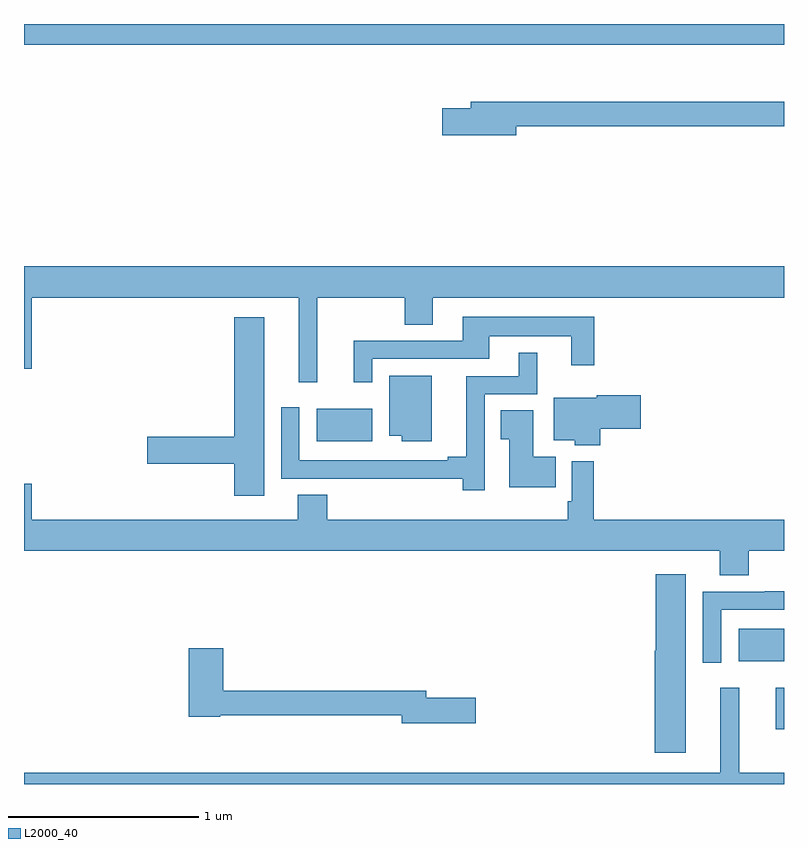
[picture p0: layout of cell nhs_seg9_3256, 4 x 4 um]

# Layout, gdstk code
import gdstk
lib = gdstk.Library(unit=1e-6, precision=1e-09)
def R(c, l, rs):  # rectangles x0, y0, x1, y1
    for r in rs: c.add(gdstk.rectangle(r[:2], r[2:], *l))
def P(c, l, *ps):  # polygons
    for p in ps: c.add(gdstk.Polygon(p, *l))
L2000_40 = (2000, 40)

nhs_seg9_3256 = lib.new_cell('nhs_seg9_3256')
R(nhs_seg9_3256, L2000_40, [(300.956,1220.787,301,1221.007), (300.761,1221.146,301,1221.316), (298.541,1222.304,298.834,1222.474), (297,1224.392,301,1224.5)])
P(nhs_seg9_3256, L2000_40, [(299.59,1223.962),(301,1223.962),(301,1224.091),(299.351,1224.091),(299.351,1224.057),(299.202,1224.057),(299.202,1223.915),(299.59,1223.915)],
  [(298.544,1223.06),(299.005,1223.06),(299.005,1222.918),(299.152,1222.918),(299.152,1223.06),(301,1223.06),(301,1223.224),(297,1223.224),(297,1222.686),(297.04,1222.686),(297.04,1223.06),(298.445,1223.06),(298.445,1222.614),(298.544,1222.614)],
  [(298.833,1222.737),(299.449,1222.737),(299.449,1222.856),(299.879,1222.856),(299.879,1222.704),(300.001,1222.704),(300.001,1222.96),(299.309,1222.96),(299.309,1222.833),(298.736,1222.833),(298.736,1222.614),(298.833,1222.614)],
  [(298.264,1222.957),(298.106,1222.957),(298.106,1222.328),(297.648,1222.328),(297.648,1222.186),(298.106,1222.186),(298.106,1222.017),(298.264,1222.017)],
  [(299.424,1222.551),(299.701,1222.551),(299.701,1222.771),(299.603,1222.771),(299.603,1222.647),(299.327,1222.647),(299.327,1222.223),(299.231,1222.223),(299.231,1222.203),(298.449,1222.203),(298.449,1222.483),(298.353,1222.483),(298.353,1222.107),(298.678,1222.107),(298.678,1222.106),(299.308,1222.106),(299.308,1222.047),(299.424,1222.047)],
  [(299.146,1222.648),(298.922,1222.648),(298.922,1222.334),(298.988,1222.334),(298.988,1222.304),(299.146,1222.304)],
  [(300.032,1222.369),(300.247,1222.369),(300.247,1222.547),(300.015,1222.547),(300.015,1222.534),(299.789,1222.534),(299.789,1222.31),(299.898,1222.31),(299.898,1222.283),(300.032,1222.283)],
  [(299.798,1222.222),(299.68,1222.222),(299.68,1222.466),(299.509,1222.466),(299.509,1222.315),(299.555,1222.315),(299.555,1222.061),(299.798,1222.061)],
  [(300.815,1221.728),(301,1221.728),(301,1221.892),(299.999,1221.892),(299.999,1222.198),(299.883,1222.198),(299.883,1221.988),(299.863,1221.988),(299.863,1221.892),(298.595,1221.892),(298.595,1222.022),(298.442,1222.022),(298.442,1221.892),(297.04,1221.892),(297.04,1222.081),(297,1222.081),(297,1221.728),(300.662,1221.728),(300.662,1221.598),(300.815,1221.598)],
  [(300.484,1221.604),(300.326,1221.604),(300.326,1221.201),(300.32,1221.201),(300.32,1220.664),(300.484,1220.664)],
  [(300.669,1221.417),(301,1221.417),(301,1221.515),(300.898,1221.515),(300.898,1221.513),(300.573,1221.513),(300.573,1221.138),(300.669,1221.138)],
  [(299.377,1220.954),(299.116,1220.954),(299.116,1220.99),(298.049,1220.99),(298.049,1221.214),(297.866,1221.214),(297.866,1220.854),(298.032,1220.854),(298.032,1220.862),(298.988,1220.862),(298.988,1220.819),(299.377,1220.819)],
  [(301,1220.56),(300.764,1220.56),(300.764,1221.007),(300.665,1221.007),(300.665,1220.56),(297,1220.56),(297,1220.5),(301,1220.5)])

lib.write_gds('nhs_seg9_3256.gds')
